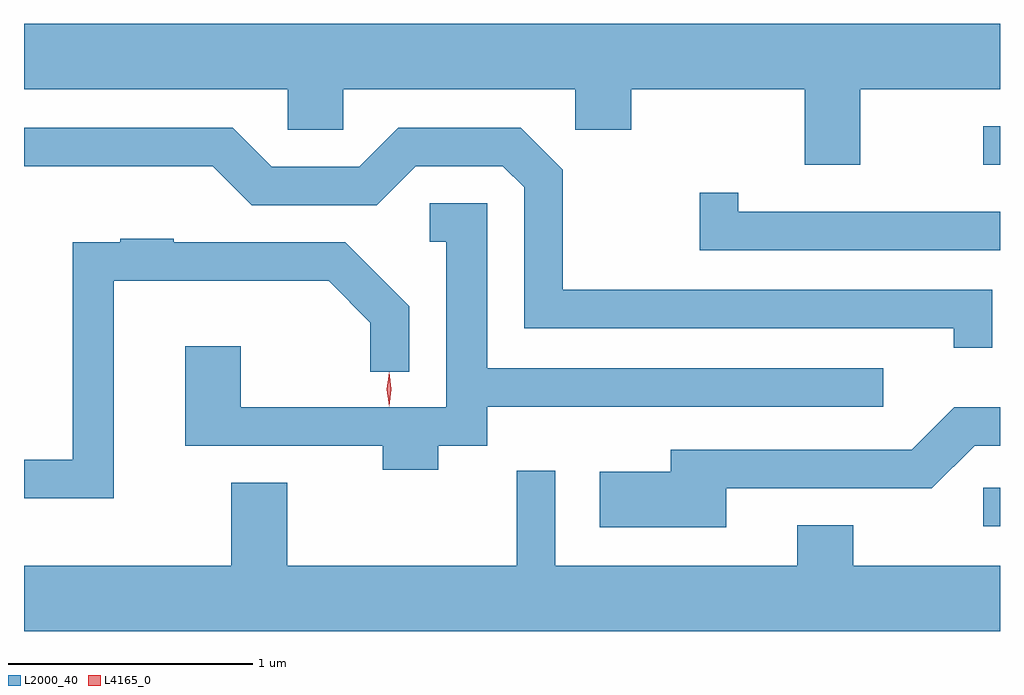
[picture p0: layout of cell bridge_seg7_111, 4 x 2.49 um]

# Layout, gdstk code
import gdstk
lib = gdstk.Library(unit=1e-6, precision=1e-09)
def R(c, l, rs):  # rectangles x0, y0, x1, y1
    for r in rs: c.add(gdstk.rectangle(r[:2], r[2:], *l))
def P(c, l, *ps):  # polygons
    for p in ps: c.add(gdstk.Polygon(p, *l))
L2000_40 = (2000, 40)
L4165_0 = (4165, 0)

bridge_seg7_111 = lib.new_cell('bridge_seg7_111')
R(bridge_seg7_111, L2000_40, [(1587.323,1765.806,1587.391,1765.964), (1587.323,1767.286,1587.391,1767.444)])
P(bridge_seg7_111, L2000_40, [(1583.391,1767.596),(1584.471,1767.596),(1584.471,1767.431),(1584.699,1767.431),(1584.699,1767.596),(1585.651,1767.596),(1585.651,1767.431),(1585.879,1767.431),(1585.879,1767.596),(1586.591,1767.596),(1586.591,1767.286),(1586.819,1767.286),(1586.819,1767.596),(1587.391,1767.596),(1587.391,1767.864),(1583.391,1767.864)],
  [(1587.359,1766.774),(1585.599,1766.774),(1585.599,1767.267),(1585.427,1767.439),(1584.924,1767.439),(1584.764,1767.279),(1584.407,1767.279),(1584.247,1767.439),(1583.391,1767.439),(1583.391,1767.281),(1584.164,1767.281),(1584.324,1767.121),(1584.837,1767.121),(1584.997,1767.281),(1585.354,1767.281),(1585.441,1767.194),(1585.441,1766.616),(1587.201,1766.616),(1587.201,1766.538),(1587.359,1766.538)],
  [(1587.391,1767.094),(1586.319,1767.094),(1586.319,1767.173),(1586.161,1767.173),(1586.161,1766.936),(1587.391,1766.936)],
  [(1585.089,1766.136),(1585.289,1766.136),(1585.289,1766.296),(1586.913,1766.296),(1586.913,1766.454),(1585.289,1766.454),(1585.289,1767.129),(1585.053,1767.129),(1585.053,1766.971),(1585.121,1766.971),(1585.121,1766.294),(1584.279,1766.294),(1584.279,1766.544),(1584.051,1766.544),(1584.051,1766.136),(1584.861,1766.136),(1584.861,1766.036),(1585.089,1766.036)],
  [(1583.759,1766.811),(1584.639,1766.811),(1584.811,1766.639),(1584.811,1766.438),(1584.969,1766.438),(1584.969,1766.707),(1584.707,1766.969),(1584.005,1766.969),(1584.005,1766.984),(1583.785,1766.984),(1583.785,1766.969),(1583.591,1766.969),(1583.591,1766.079),(1583.391,1766.079),(1583.391,1765.921),(1583.759,1765.921)],
  [(1586.269,1765.961),(1587.112,1765.961),(1587.287,1766.136),(1587.391,1766.136),(1587.391,1766.294),(1587.204,1766.294),(1587.029,1766.119),(1586.041,1766.119),(1586.041,1766.029),(1585.751,1766.029),(1585.751,1765.801),(1586.269,1765.801)],
  [(1587.391,1765.644),(1586.789,1765.644),(1586.789,1765.809),(1586.561,1765.809),(1586.561,1765.644),(1585.569,1765.644),(1585.569,1766.033),(1585.411,1766.033),(1585.411,1765.644),(1584.469,1765.644),(1584.469,1765.984),(1584.241,1765.984),(1584.241,1765.644),(1583.391,1765.644),(1583.391,1765.376),(1587.391,1765.376)])
P(bridge_seg7_111, L4165_0, [(1584.887,1766.297),(1584.887,1766.298),(1584.877,1766.367),(1584.887,1766.436),(1584.887,1766.437),(1584.888,1766.436),(1584.897,1766.367),(1584.888,1766.298)])

lib.write_gds('bridge_seg7_111.gds')
